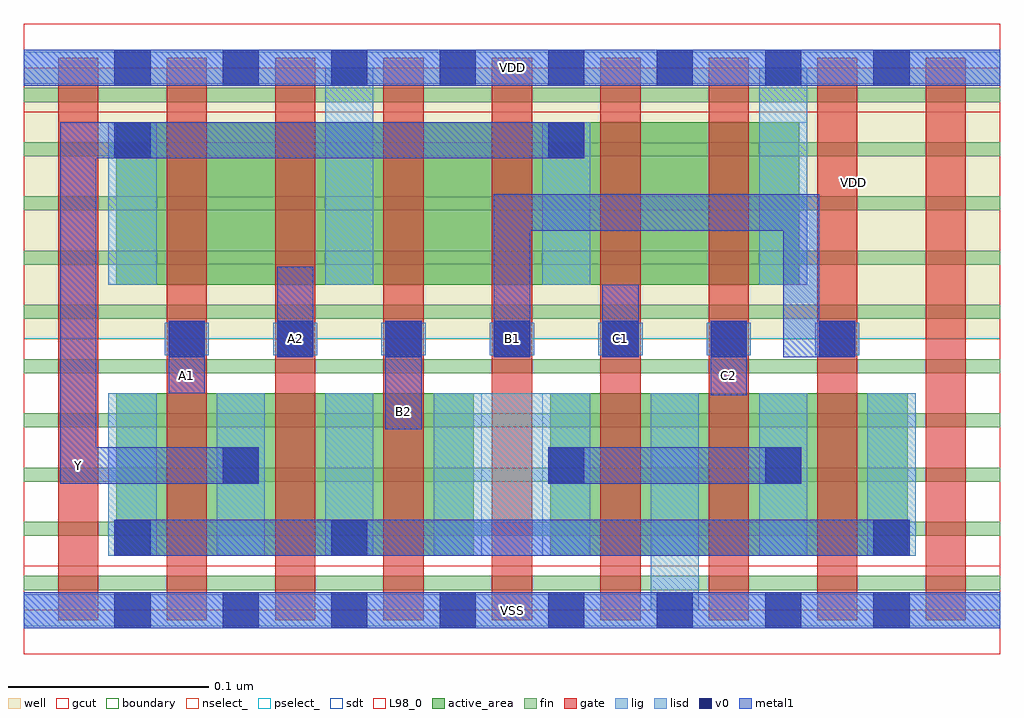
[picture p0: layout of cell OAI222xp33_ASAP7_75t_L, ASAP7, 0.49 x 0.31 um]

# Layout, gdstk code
import gdstk
lib = gdstk.Library(unit=1e-6, precision=2.5e-10)
def R(c, l, rs):  # rectangles x0, y0, x1, y1
    for r in rs: c.add(gdstk.rectangle(r[:2], r[2:], *l))
def A(c, l, x, y, w, h, nx, ny, dx, dy):  # array of equal rectangles
    R(c, l, [(x+i*dx, y+j*dy, x+i*dx+w, y+j*dy+h) for i in range(nx) for j in range(ny)])
def P(c, l, *ps):  # polygons
    for p in ps: c.add(gdstk.Polygon(p, *l))
well = (1, 0)
fin = (2, 0)
gate = (7, 0)
gcut = (10, 0)
active_area = (11, 0)
nselect_ = (12, 0)
pselect_ = (13, 0)
lig = (16, 0)
lisd = (17, 0)
v0 = (18, 0)
metal1 = (19, 0)
sdt = (88, 0)
L98_0 = (98, 0)
boundary = (100, 0)

oai222xp33_asap7_75t_l = lib.new_cell('OAI222xp33_ASAP7_75t_L')
R(oai222xp33_asap7_75t_l, well, [(0,0.135,0.486,0.27)])
A(oai222xp33_asap7_75t_l, fin, 0, 0.01, 0.486, 0.007, 1, 10, 0, 0.027)
A(oai222xp33_asap7_75t_l, gate, 0.017, -0.005, 0.02, 0.28, 9, 1, 0.054, 0)
R(oai222xp33_asap7_75t_l, gcut, [(0,-0.022,0.486,0.022), (0,0.248,0.486,0.292)])
R(oai222xp33_asap7_75t_l, active_area, [(0.046,0.027,0.224,0.108), (0.262,0.027,0.44,0.108), (0.046,0.162,0.386,0.243)])
R(oai222xp33_asap7_75t_l, nselect_, [(0,0,0.486,0.135)])
R(oai222xp33_asap7_75t_l, pselect_, [(0,0.135,0.486,0.27)])
A(oai222xp33_asap7_75t_l, lig, 0.07, 0.127, 0.022, 0.016, 7, 1, 0.054, 0)
R(oai222xp33_asap7_75t_l, lig, [(0,-0.008,0.486,0.008), (0,0.262,0.486,0.278)])
A(oai222xp33_asap7_75t_l, lisd, 0.042, 0.027, 0.024, 0.081, 3, 1, 0.054, 0)
R(oai222xp33_asap7_75t_l, lisd, [(0.312,0,0.336,0.108), (0.204,0.027,0.282,0.108), (0.366,0.027,0.39,0.108), (0.42,0.027,0.444,0.108), (0.042,0.162,0.066,0.243), (0.15,0.162,0.174,0.27), (0.258,0.162,0.282,0.243), (0.366,0.162,0.39,0.27)])
A(oai222xp33_asap7_75t_l, v0, 0.045, -0.009, 0.018, 0.018, 8, 2, 0.054, 0.27)
A(oai222xp33_asap7_75t_l, v0, 0.072, 0.126, 0.018, 0.018, 7, 1, 0.054, 0)
R(oai222xp33_asap7_75t_l, v0, [(0.045,0.027,0.063,0.045), (0.153,0.027,0.171,0.045), (0.423,0.027,0.441,0.045), (0.099,0.063,0.117,0.081), (0.261,0.063,0.279,0.081), (0.369,0.063,0.387,0.081), (0.045,0.225,0.063,0.243), (0.261,0.225,0.279,0.243)])
R(oai222xp33_asap7_75t_l, metal1, [(0,-0.009,0.486,0.009), (0.045,0.027,0.441,0.045), (0.261,0.063,0.387,0.081), (0.18,0.09,0.198,0.144), (0.342,0.107,0.36,0.144), (0.072,0.108,0.09,0.144), (0.126,0.126,0.144,0.171), (0.288,0.126,0.306,0.162), (0,0.261,0.486,0.279)])
P(oai222xp33_asap7_75t_l, metal1, [(0.234,0.126),(0.234,0.207),(0.396,0.207),(0.396,0.144),(0.414,0.144),(0.414,0.126),(0.378,0.126),(0.378,0.189),(0.252,0.189),(0.252,0.126)],
  [(0.018,0.063),(0.018,0.243),(0.279,0.243),(0.279,0.225),(0.036,0.225),(0.036,0.081),(0.117,0.081),(0.117,0.063)])
A(oai222xp33_asap7_75t_l, sdt, 0.042, 0.027, 0.024, 0.081, 8, 1, 0.054, 0)
A(oai222xp33_asap7_75t_l, sdt, 0.042, 0.162, 0.024, 0.081, 4, 1, 0.108, 0)
R(oai222xp33_asap7_75t_l, L98_0, [(0,0,0.486,0.27)])
R(oai222xp33_asap7_75t_l, boundary, [(0,0,0.486,0.27)])
oai222xp33_asap7_75t_l.add(gdstk.Label('C1', (0.297,0.135), layer=19, texttype=251))
oai222xp33_asap7_75t_l.add(gdstk.Label('C2', (0.351,0.117), layer=19, texttype=251))
oai222xp33_asap7_75t_l.add(gdstk.Label('A2', (0.135,0.135), layer=19, texttype=251))
oai222xp33_asap7_75t_l.add(gdstk.Label('B1', (0.243,0.135), layer=19, texttype=251))
oai222xp33_asap7_75t_l.add(gdstk.Label('A1', (0.081,0.117), layer=19, texttype=251))
oai222xp33_asap7_75t_l.add(gdstk.Label('B2', (0.189,0.099), layer=19, texttype=251))
oai222xp33_asap7_75t_l.add(gdstk.Label('Y', (0.027,0.072), layer=19, texttype=251))
oai222xp33_asap7_75t_l.add(gdstk.Label('VSS', (0.243,0), layer=19, texttype=251))
oai222xp33_asap7_75t_l.add(gdstk.Label('VDD', (0.243,0.27), layer=19, texttype=251))
oai222xp33_asap7_75t_l.add(gdstk.Label('VDD', (0.413,0.213), layer=1, texttype=251))
oai222xp33_asap7_75t_l.add(gdstk.Label('VSS', (0.559,0.213), layer=3, texttype=251))

lib.write_gds('OAI222xp33_ASAP7_75t_L.gds')
